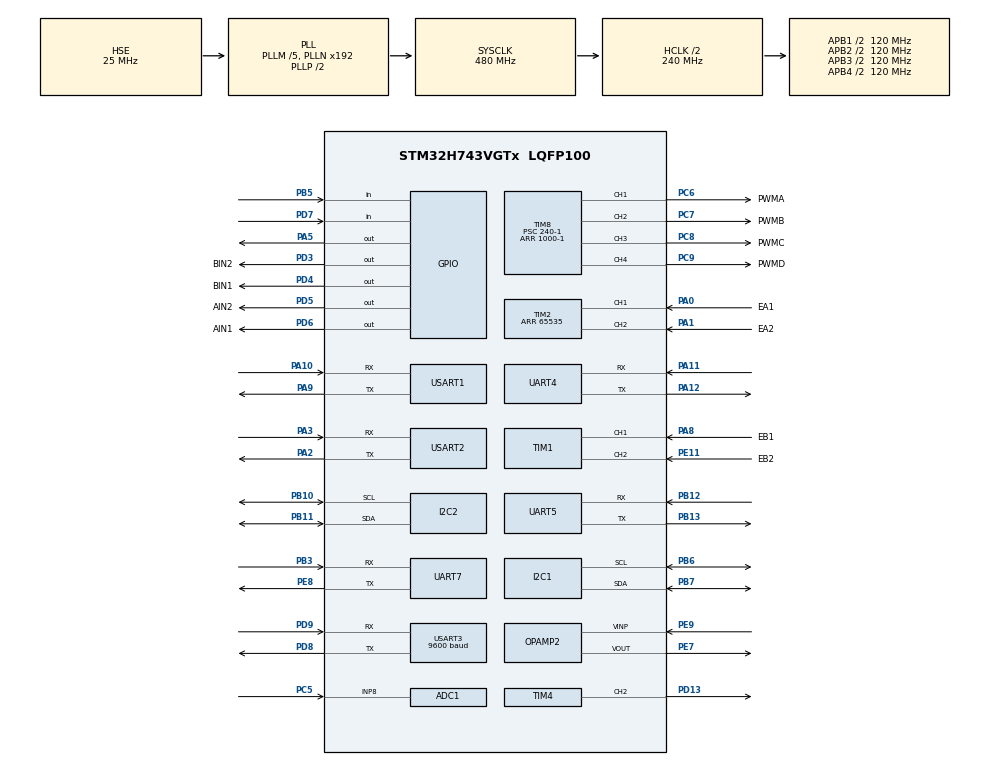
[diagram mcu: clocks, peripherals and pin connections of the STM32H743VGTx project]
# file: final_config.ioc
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ADC1.Channel-0\#ChannelRegularConversion=ADC_CHANNEL_8
ADC1.NbrOfConversionFlag=1
ADC1.OffsetNumber-0\#ChannelRegularConversion=ADC_OFFSET_NONE
ADC1.OffsetSignedSaturation-0\#ChannelRegularConversion=DISABLE
ADC1.Rank-0\#ChannelRegularConversion=1
ADC1.SamplingTime-0\#ChannelRegularConversion=ADC_SAMPLETIME_1CYCLE_5
ADC1.master=1
CORTEX_M7.default_mode_Activation=0
Dma.Request0=USART1_RX
Dma.Request1=USART2_RX
Dma.Request2=USART3_RX
Dma.Request3=UART4_RX
Dma.Request4=UART7_RX
Dma.UART4_RX.3.Direction=DMA_PERIPH_TO_MEMORY
Dma.UART4_RX.3.EventEnable=DISABLE
Dma.UART4_RX.3.FIFOMode=DMA_FIFOMODE_DISABLE
Dma.UART4_RX.3.Instance=DMA1_Stream3
Dma.UART4_RX.3.MemDataAlignment=DMA_MDATAALIGN_BYTE
Dma.UART4_RX.3.MemInc=DMA_MINC_ENABLE
Dma.UART4_RX.3.Mode=DMA_NORMAL
Dma.UART4_RX.3.PeriphDataAlignment=DMA_PDATAALIGN_BYTE
Dma.UART4_RX.3.PeriphInc=DMA_PINC_DISABLE
Dma.UART4_RX.3.Polarity=HAL_DMAMUX_REQ_GEN_RISING
Dma.UART4_RX.3.Priority=DMA_PRIORITY_LOW
Dma.UART4_RX.3.RequestNumber=1
Dma.UART4_RX.3.SignalID=NONE
Dma.UART4_RX.3.SyncEnable=DISABLE
Dma.UART4_RX.3.SyncPolarity=HAL_DMAMUX_SYNC_NO_EVENT
Dma.UART4_RX.3.SyncRequestNumber=1
Dma.UART4_RX.3.SyncSignalID=NONE
Dma.UART7_RX.4.Direction=DMA_PERIPH_TO_MEMORY
Dma.UART7_RX.4.EventEnable=DISABLE
Dma.UART7_RX.4.FIFOMode=DMA_FIFOMODE_DISABLE
Dma.UART7_RX.4.Instance=DMA2_Stream0
Dma.UART7_RX.4.MemDataAlignment=DMA_MDATAALIGN_BYTE
Dma.UART7_RX.4.MemInc=DMA_MINC_ENABLE
Dma.UART7_RX.4.Mode=DMA_NORMAL
Dma.UART7_RX.4.PeriphDataAlignment=DMA_PDATAALIGN_BYTE
Dma.UART7_RX.4.PeriphInc=DMA_PINC_DISABLE
Dma.UART7_RX.4.Polarity=HAL_DMAMUX_REQ_GEN_RISING
Dma.UART7_RX.4.Priority=DMA_PRIORITY_VERY_HIGH
Dma.UART7_RX.4.RequestNumber=1
Dma.UART7_RX.4.SignalID=NONE
Dma.UART7_RX.4.SyncEnable=DISABLE
Dma.UART7_RX.4.SyncPolarity=HAL_DMAMUX_SYNC_NO_EVENT
Dma.UART7_RX.4.SyncRequestNumber=1
Dma.UART7_RX.4.SyncSignalID=NONE
Dma.USART1_RX.0.Direction=DMA_PERIPH_TO_MEMORY
Dma.USART1_RX.0.EventEnable=DISABLE
Dma.USART1_RX.0.FIFOMode=DMA_FIFOMODE_DISABLE
Dma.USART1_RX.0.Instance=DMA1_Stream0
Dma.USART1_RX.0.MemDataAlignment=DMA_MDATAALIGN_BYTE
Dma.USART1_RX.0.MemInc=DMA_MINC_ENABLE
Dma.USART1_RX.0.Mode=DMA_NORMAL
Dma.USART1_RX.0.PeriphDataAlignment=DMA_PDATAALIGN_BYTE
Dma.USART1_RX.0.PeriphInc=DMA_PINC_DISABLE
Dma.USART1_RX.0.Polarity=HAL_DMAMUX_REQ_GEN_RISING
Dma.USART1_RX.0.Priority=DMA_PRIORITY_LOW
Dma.USART1_RX.0.RequestNumber=1
Dma.USART1_RX.0.SignalID=NONE
Dma.USART1_RX.0.SyncEnable=DISABLE
Dma.USART1_RX.0.SyncPolarity=HAL_DMAMUX_SYNC_NO_EVENT
Dma.USART1_RX.0.SyncRequestNumber=1
Dma.USART1_RX.0.SyncSignalID=NONE
Dma.USART2_RX.1.Direction=DMA_PERIPH_TO_MEMORY
Dma.USART2_RX.1.EventEnable=DISABLE
Dma.USART2_RX.1.FIFOMode=DMA_FIFOMODE_DISABLE
Dma.USART2_RX.1.Instance=DMA1_Stream1
Dma.USART2_RX.1.MemDataAlignment=DMA_MDATAALIGN_BYTE
Dma.USART2_RX.1.MemInc=DMA_MINC_ENABLE
Dma.USART2_RX.1.Mode=DMA_NORMAL
Dma.USART2_RX.1.PeriphDataAlignment=DMA_PDATAALIGN_BYTE
Dma.USART2_RX.1.PeriphInc=DMA_PINC_DISABLE
Dma.USART2_RX.1.Polarity=HAL_DMAMUX_REQ_GEN_RISING
Dma.USART2_RX.1.Priority=DMA_PRIORITY_LOW
Dma.USART2_RX.1.RequestNumber=1
Dma.USART2_RX.1.SignalID=NONE
Dma.USART2_RX.1.SyncEnable=DISABLE
Dma.USART2_RX.1.SyncPolarity=HAL_DMAMUX_SYNC_NO_EVENT
Dma.USART2_RX.1.SyncRequestNumber=1
Dma.USART2_RX.1.SyncSignalID=NONE
Dma.USART3_RX.2.Direction=DMA_PERIPH_TO_MEMORY
Dma.USART3_RX.2.EventEnable=DISABLE
Dma.USART3_RX.2.FIFOMode=DMA_FIFOMODE_DISABLE
Dma.USART3_RX.2.Instance=DMA1_Stream2
Dma.USART3_RX.2.MemDataAlignment=DMA_MDATAALIGN_BYTE
Dma.USART3_RX.2.MemInc=DMA_MINC_ENABLE
Dma.USART3_RX.2.Mode=DMA_NORMAL
Dma.USART3_RX.2.PeriphDataAlignment=DMA_PDATAALIGN_BYTE
Dma.USART3_RX.2.PeriphInc=DMA_PINC_DISABLE
Dma.USART3_RX.2.Polarity=HAL_DMAMUX_REQ_GEN_RISING
Dma.USART3_RX.2.Priority=DMA_PRIORITY_LOW
Dma.USART3_RX.2.RequestNumber=1
Dma.USART3_RX.2.SignalID=NONE
Dma.USART3_RX.2.SyncEnable=DISABLE
Dma.USART3_RX.2.SyncPolarity=HAL_DMAMUX_SYNC_NO_EVENT
Dma.USART3_RX.2.SyncRequestNumber=1
Dma.USART3_RX.2.SyncSignalID=NONE
I2C1.Timing=0x307075B1
I2C2.Timing=0x307075B1
Mcu.Family=STM32H7
Mcu.Name=STM32H743VGTx
Mcu.Package=LQFP100
NVIC.DMA1_Stream0_IRQn=true\:0\:0\:false\:false\:true\:false\:true\:true
NVIC.DMA1_Stream1_IRQn=true\:0\:0\:false\:false\:true\:false\:true\:true
NVIC.DMA1_Stream2_IRQn=true\:0\:0\:false\:false\:true\:false\:true\:true
NVIC.DMA1_Stream3_IRQn=true\:0\:0\:false\:false\:true\:false\:true\:true
NVIC.DMA2_Stream0_IRQn=true\:0\:0\:false\:false\:true\:false\:true\:true
NVIC.PriorityGroup=NVIC_PRIORITYGROUP_4
NVIC.TIM6_DAC_IRQn=true\:3\:0\:true\:false\:true\:true\:true\:true
NVIC.TIM7_IRQn=true\:14\:0\:true\:false\:true\:true\:true\:true
NVIC.TIM8_UP_TIM13_IRQn=true\:0\:0\:false\:false\:true\:true\:true\:true
NVIC.UART4_IRQn=true\:0\:0\:false\:false\:true\:true\:true\:true
NVIC.UART7_IRQn=true\:0\:0\:false\:false\:true\:true\:true\:true
NVIC.USART1_IRQn=true\:0\:0\:false\:false\:true\:true\:true\:true
NVIC.USART2_IRQn=true\:0\:0\:false\:false\:true\:true\:true\:true
NVIC.USART3_IRQn=true\:14\:0\:true\:false\:true\:true\:true\:true
PA0.GPIO_Label=EA1
PA0.PinAttribute=Free
PA0.Signal=S_TIM2_CH1_ETR
PA1.GPIO_Label=EA2
PA1.PinAttribute=Free
PA1.Signal=S_TIM2_CH2
PA10.Mode=Asynchronous
PA10.Signal=USART1_RX
PA11.Mode=Asynchronous
PA11.PinAttribute=Free
PA11.Signal=UART4_RX
PA12.Mode=Asynchronous
PA12.Signal=UART4_TX
PA13\ (JTMS/SWDIO).Mode=Serial_Wire
PA13\ (JTMS/SWDIO).Signal=DEBUG_JTMS-SWDIO
PA14\ (JTCK/SWCLK).Mode=Serial_Wire
PA14\ (JTCK/SWCLK).Signal=DEBUG_JTCK-SWCLK
PA2.Mode=Asynchronous
PA2.PinAttribute=Free
PA2.Signal=USART2_TX
PA3.Mode=Asynchronous
PA3.PinAttribute=Free
PA3.Signal=USART2_RX
PA5.GPIO_PuPd=GPIO_PULLUP
PA5.GPIO_Speed=GPIO_SPEED_FREQ_VERY_HIGH
PA5.Signal=GPIO_Output
PA8.GPIO_Label=EB1
PA8.PinAttribute=Free
PA8.Signal=S_TIM1_CH1
PA9.Mode=Asynchronous
PA9.Signal=USART1_TX
PB10.Mode=I2C
PB10.Signal=I2C2_SCL
PB11.Mode=I2C
PB11.Signal=I2C2_SDA
PB12.Mode=Asynchronous
PB12.Signal=UART5_RX
PB13.Mode=Asynchronous
PB13.Signal=UART5_TX
PB3\ (JTDO/TRACESWO).Mode=Asynchronous
PB3\ (JTDO/TRACESWO).Signal=UART7_RX
PB5.GPIO_PuPd=GPIO_PULLDOWN
PB5.Signal=GPIO_Input
PB6.Mode=I2C
PB6.Signal=I2C1_SCL
PB7.Mode=I2C
PB7.Signal=I2C1_SDA
PC5.Signal=ADCx_INP8
PC6.GPIO_Label=PWMA
PC6.PinAttribute=Free
PC6.Signal=S_TIM8_CH1
PC7.GPIO_Label=PWMB
PC7.PinAttribute=Free
PC7.Signal=S_TIM8_CH2
PC8.GPIO_Label=PWMC
PC8.PinAttribute=Free
PC8.Signal=S_TIM8_CH3
PC9.GPIO_Label=PWMD
PC9.PinAttribute=Free
PC9.Signal=S_TIM8_CH4
PD13.Signal=S_TIM4_CH2
PD3.GPIO_Label=BIN2
PD3.Signal=GPIO_Output
PD4.GPIO_Label=BIN1
PD4.Signal=GPIO_Output
PD5.GPIO_Label=AIN2
PD5.Signal=GPIO_Output
PD6.GPIO_Label=AIN1
PD6.Signal=GPIO_Output
PD7.GPIO_PuPd=GPIO_PULLDOWN
PD7.Signal=GPIO_Input
PD8.Mode=Asynchronous
PD8.Signal=USART3_TX
PD9.Mode=Asynchronous
PD9.Signal=USART3_RX
PE11.GPIO_Label=EB2
PE11.Signal=S_TIM1_CH2
PE7.Mode=Follower
PE7.Signal=OPAMP2_VOUT
PE8.Mode=Asynchronous
PE8.Signal=UART7_TX
PE9.Mode=Follower
PE9.Signal=OPAMP2_VINP
PH0-OSC_IN\ (PH0).Mode=HSE-External-Oscillator
PH0-OSC_IN\ (PH0).PinAttribute=Free
PH0-OSC_IN\ (PH0).Signal=RCC_OSC_IN
PH1-OSC_OUT\ (PH1).Mode=HSE-External-Oscillator
PH1-OSC_OUT\ (PH1).PinAttribute=Free
PH1-OSC_OUT\ (PH1).Signal=RCC_OSC_OUT
ProjectManager.HeapSize=0x200
ProjectManager.StackSize=0x400
ProjectManager.TargetToolchain=CMake
RCC.ADCFreq_Value=75000000
RCC.APB1Freq_Value=120000000
RCC.APB2Freq_Value=120000000
RCC.APB3Freq_Value=120000000
RCC.APB4Freq_Value=120000000
RCC.CortexFreq_Value=480000000
RCC.D1PPRE=RCC_APB3_DIV2
RCC.D2PPRE1=RCC_APB1_DIV2
RCC.D2PPRE2=RCC_APB2_DIV2
RCC.D3PPRE=RCC_APB4_DIV2
RCC.DIVM1=5
RCC.DIVM2=2
RCC.DIVN1=192
RCC.DIVN2=12
RCC.DIVQ1=5
RCC.EnbaleCSS=true
RCC.FLatency-AdvancedSettings=FLASH_LATENCY_0
RCC.HCLKFreq_Value=240000000
RCC.HPRE=RCC_HCLK_DIV2
RCC.PLL1_VCO_SEL-AdvancedSettings=RCC_PLL1VCOWIDE
RCC.PLL2FRACN=0
RCC.PLL2_VCI_Range-AdvancedSettings=RCC_PLL2VCIRANGE_1
RCC.PLL2_VCO_SEL-AdvancedSettings=RCC_PLL2VCOMEDIUM
RCC.PLL3FRACN=0
RCC.PLL3_VCI_Range-AdvancedSettings=RCC_PLL3VCIRANGE_3
RCC.PLL3_VCO_SEL-AdvancedSettings=RCC_PLL3VCOMEDIUM
RCC.PLLFRACN=0
RCC.PLLSourceVirtual=RCC_PLLSOURCE_HSE
RCC.SYSCLKFreq_VALUE=480000000
RCC.SYSCLKSource=RCC_SYSCLKSOURCE_PLLCLK
RCC.USBFreq_Value=192000000
SH.ADCx_INP8.0=ADC1_INP8,IN8-Single-Ended
SH.S_TIM1_CH1.0=TIM1_CH1,Encoder_Interface
SH.S_TIM1_CH2.0=TIM1_CH2,Encoder_Interface
SH.S_TIM2_CH1_ETR.0=TIM2_CH1,Encoder_Interface
SH.S_TIM2_CH2.0=TIM2_CH2,Encoder_Interface
SH.S_TIM4_CH2.0=TIM4_CH2,PWM Generation2 CH2
SH.S_TIM8_CH1.0=TIM8_CH1,PWM Generation1 CH1
SH.S_TIM8_CH2.0=TIM8_CH2,PWM Generation2 CH2
SH.S_TIM8_CH3.0=TIM8_CH3,PWM Generation3 CH3
SH.S_TIM8_CH4.0=TIM8_CH4,PWM Generation4 CH4
TIM1.EncoderMode=TIM_ENCODERMODE_TI12
TIM13.Period=1000-1
TIM13.Prescaler=240-1
TIM2.EncoderMode=TIM_ENCODERMODE_TI12
TIM2.Period=65535
TIM4.Channel-PWM\ Generation2\ CH2=TIM_CHANNEL_2
TIM4.Period=100
TIM4.Prescaler=240-1
TIM4.Pulse-PWM\ Generation2\ CH2=50
TIM6.Period=10000-1
TIM6.Prescaler=240-1
TIM7.Period=10000-1
TIM7.Prescaler=24000-1
TIM8.Channel-PWM\ Generation1\ CH1=TIM_CHANNEL_1
TIM8.Channel-PWM\ Generation2\ CH2=TIM_CHANNEL_2
TIM8.Channel-PWM\ Generation3\ CH3=TIM_CHANNEL_3
TIM8.Channel-PWM\ Generation4\ CH4=TIM_CHANNEL_4
TIM8.Period=1000-1
TIM8.Prescaler=240-1
UART7.DMADisableonRxErrorParam=UART_ADVFEATURE_DMA_DISABLEONRXERROR
UART7.OverrunDisableParam=UART_ADVFEATURE_OVERRUN_DISABLE
USART1.VirtualMode-Asynchronous=VM_ASYNC
USART2.VirtualMode-Asynchronous=VM_ASYNC
USART3.BaudRate=9600
USART3.SwapParam=ADVFEATURE_SWAP_ENABLE
USART3.VirtualMode-Asynchronous=VM_ASYNC
VP_MEMORYMAP_VS_MEMORYMAP.Mode=CurAppReg
VP_TIM13_VS_ClockSourceINT.Mode=Enable_Timer
VP_TIM6_VS_ClockSourceINT.Mode=Enable_Timer
VP_TIM7_VS_ClockSourceINT.Mode=Enable_Timer
board=custom

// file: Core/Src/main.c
/* USER CODE BEGIN Header */
/**
  ******************************************************************************
  * @file           : main.c
  * @brief          : Main program body
  ******************************************************************************
  * @attention
  *
  * Copyright (c) 2025 STMicroelectronics.
  * All rights reserved.
  *
  * This software is licensed under terms that can be found in the LICENSE file
  * in the root directory of this software component.
  * If no LICENSE file comes with this software, it is provided AS-IS.
  *
  ******************************************************************************
  */
/* USER CODE END Header */
#include "main.h"
#include "adc.h"
#include "dma.h"
#include "i2c.h"
#include "memorymap.h"
#include "opamp.h"
#include "tim.h"
#include "usart.h"
#include "gpio.h"

/* USER CODE BEGIN Includes */
#include <stdbool.h>
#include <stdio.h>
#include <string.h>

#include "filter.h"
#include "control.h"
#include "driver.h"
#include "motion/motion_types.h"
#include "PTZ.h"
#include "pic/nl.h"
#include "pic/kk.h"
#include "pic/wsnlwcsnl.h"
#include "pic/hbkk.h"
#include "pic/NUEDC.h"
#include "pic/UESTC.h"
/* USER CODE END Includes */

/* USER CODE BEGIN PTD */
typedef struct {
  float x;
  float y;
  float z;
} Speed;
/* USER CODE END PTD */

/* USER CODE BEGIN PD */
#define  Car_Constance 15.1
/* USER CODE END PD */

/* USER CODE BEGIN PV */

extern PID_LocTypeDef Motor_A_PID;
extern PID_LocTypeDef Motor_B_PID;
extern PID_LocTypeDef Z_PID;
extern PID_LocTypeDef PTZ_Z_PID;

char speed_rx_buffer[512]__attribute__((section(".out")));
char imu_rx_buffer[512]__attribute__((section(".out")));
char screen_rx_buffer[512]__attribute__((section(".out")));
char k230_rx_buffer[2048]__attribute__((section(".o2")));

char speed_data_buffer[512];
char imu_data_buffer[512];
char screen_data_buffer[512];
char k230_data_buffer[2048];

const float ENCODER_RESOLUTION_AB = 500.0f * 4.0f * 30.f;

const float METERS_PER_PULSE_AB = (wheel * 3.1415926535f) / ENCODER_RESOLUTION_AB;//单位cm

Speed_Data Speed_Data_A,Speed_Data_B;

// 新加的正交编码器
Speed_Data Speed_X, Speed_Y;
float last_angle_z = 0.0f; // 上一次的角度
float rotation_speed_x, rotation_speed_y;
float r_y = 10.63f, r_x = 18.3f; // 编码轮到质心的距离 cm
float w ;

Speed Speed_car, Position_car, Imu_Speed;

KalmanFilter speed_x, speed_y, angle_z;
KalmanFilter k_gyro_z;
float other_speed_data_x, other_speed_data_y;

float Motor_A_Set,Motor_B_Set;

float z_target = 0.;

float position_target_x = 0, position_target_y = 0;

// jy62
sensor_data_fifo_s accel_data, gyro_data, angle_data;
float accx,accy;

// PTZ
float PTZ_angle_z = 0.0f;
float PTZ_angle_x = 0.0f;

float projection_x = 0.27f, projection_y = 0.33f;

double motor_speed_x, motor_speed_y, motor_speed_z;
bool data_flag = false;

// draw
bool draw = false;
int draw_size = 0;
float (*draw_points)[2] = {0};

int PTZ_alive = 0;

int FuckTi_status = 0;
int Fuck_round = 0;

int detected = 0;
bool turn2 = false;

float fuck_center_dif = 0;
float fuck_radius = 0;

extern uint8_t m0_dead = 1;
/* 0是不动，云台软
 * 1是动，云台软
 * 2是不动，云台硬
 * 3是动，云台硬
 * 4是画圆
 */
int status = 0;

int lazer_close = 0;
/* USER CODE END PV */

void SystemClock_Config(void);
/* USER CODE BEGIN PFP */
void Move_Transform(double Vx,double Vy,double Vz);
void update_speed(Speed_Data* speed, int tim, float mpp);
void Speed_PID();
void Position_Transform(double Va,double Vb);
void Speed_Int(double dt);
int string2int(int start, int end);
void SpeedHandler();
void PositionHandler();
bool verify_imu_data(int start);
void parse_imu_data(sensor_data_fifo_s* data, int start);
void ImuHandler(uint16_t size);
void CheckPosition();

void MY1_Delay(int ms);
void ScreenHandler();
void WriteSCREEN(char* msg);
float GetDistance(float* point_a, float* point_b);
void Projection_Draw(float x, float y);
/* USER CODE END PFP */

int main(void)
{

  /* MCU Configuration--------------------------------------------------------*/

  /* Reset of all peripherals, Initializes the Flash interface and the Systick. */
  HAL_Init();

  /* Configure the system clock */
  SystemClock_Config();

  /* Initialize all configured peripherals */
  MX_GPIO_Init();
  MX_DMA_Init();
  MX_ADC1_Init();
  MX_I2C1_Init();
  MX_I2C2_Init();
  MX_OPAMP2_Init();
  MX_TIM1_Init();
  MX_TIM2_Init();
  MX_TIM8_Init();
  MX_UART4_Init();
  MX_UART5_Init();
  MX_UART7_Init();
  MX_USART1_UART_Init();
  MX_USART2_UART_Init();
  MX_USART3_UART_Init();
  MX_TIM6_Init();
  MX_TIM4_Init();
  MX_TIM7_Init();
  MX_TIM13_Init();
  /* USER CODE BEGIN 2 */

  HAL_TIM_Encoder_Start(&htim1, TIM_CHANNEL_ALL);
  HAL_TIM_Encoder_Start(&htim2, TIM_CHANNEL_ALL);

  HAL_TIM_PWM_Start(&htim8, TIM_CHANNEL_1);
  HAL_TIM_PWM_Start(&htim8, TIM_CHANNEL_2);
  HAL_TIM_PWM_Start(&htim8, TIM_CHANNEL_3);
  HAL_TIM_PWM_Start(&htim8, TIM_CHANNEL_4);

  HAL_TIM_Base_Start_IT(&htim6);
  HAL_TIM_Base_Start_IT(&htim7);
  HAL_TIM_Base_Start_IT(&htim13);

  //imu init
  angle_data.dt = 0.01f;
  angle_data.scale = 1.0f;
  angle_data.samples = 0;
  gyro_data.dt = 0.01f;
  gyro_data.scale = 1.0f;
  gyro_data.samples = 0;
  accel_data.dt = 0.01f;
  accel_data.scale = 1.0f;
  accel_data.samples = 0;

  angle_data.scale = 1.0 / 32768.0f * 180.0f;//degree
  gyro_data.scale = 1.0 / 32768.0f * 2000.0f;//dps
  accel_data.scale = 1.0 / 32768.0f * 16.0f * 9.8f * 100.0f;//cm/s^2

  memset(imu_rx_buffer, 0, sizeof(imu_rx_buffer));

  char z_cali[3] = {0xff,0xaa,0x52};
  // z归零
  HAL_UART_Transmit(&huart4, (uint8_t *)z_cali, sizeof(z_cali), HAL_MAX_DELAY);
  z_cali[2] = 0x67;
  // acc校准
  HAL_UART_Transmit(&huart4, (uint8_t *)z_cali, sizeof(z_cali), HAL_MAX_DELAY);

  Position_car.x = 0;
  Position_car.y = 0;
  Position_car.z = 0;

  Imu_Speed.x = 0;
  Imu_Speed.y = 0;

  kalman_filter_init(&speed_x, 0.01, 0.2);
  kalman_filter_init(&speed_y, 0.01, 0.2);

  kalman_filter_init(&angle_z, 0.01, 0.5);
  kalman_filter_init(&k_gyro_z, 0.01, 0.5);

  HAL_UARTEx_ReceiveToIdle_DMA(&huart1,speed_rx_buffer,512); //1接调试器
  // HAL_UARTEx_ReceiveToIdle_DMA(&huart2,flow_rx_buffer,512); //2接云台
  HAL_UARTEx_ReceiveToIdle_DMA(&huart3,screen_rx_buffer,512);//3接屏幕
  HAL_UARTEx_ReceiveToIdle_DMA(&huart4,imu_rx_buffer,512); //4接imu
  HAL_UARTEx_ReceiveToIdle_DMA(&huart7,k230_rx_buffer,512); //7接k230

  // PTZ back zero
  PTZ_back_zero();

  HAL_Delay(1000);

  // PTZ_set_zero();
  // HAL_GPIO_WritePin(GPIOD, GPIO_PIN_13, GPIO_PIN_SET); // 开启激光笔
  HAL_GPIO_WritePin(GPIOA , GPIO_PIN_5, GPIO_PIN_RESET); // 开启激光笔
  lazer_close = 999999;
  // HAL_Delay(100);
  // lazer_close = 1000;
  // HAL_Delay(2000);
  // lazer_close = 1000;

  /* USER CODE END 2 */

  /* Infinite loop */
  /* USER CODE BEGIN WHILE */
  int cur_i = 0;
  while (1)
  {
    // for(int i = 0; i <= draw_size; i++) {
    //   PTZ_angle_z = draw_points[i][0] / 180.0f * PI * 7.; // 转换为角度
    //   PTZ_angle_x = draw_points[i][1] / 180.0f * PI * 7.; // 转换为角度
    //   PTZ_update(PTZ_angle_x, PTZ_angle_z);
    //   HAL_Delay(5);
    // }
    if (draw) {
      lazer_close = 1;
      // PTZ_angle_z = draw_points[cur_i][0] / 180.0f * PI * 7.; // 转换为角度
      // PTZ_angle_x = draw_points[cur_i][1] / 180.0f * PI * 7.; // 转换为角度
      // PTZ_update(PTZ_angle_x, PTZ_angle_z);
      const float ratio = 20.0f;
      float angle_x = draw_points[cur_i][0] / ratio;
      float angle_z = draw_points[cur_i][1] / ratio;
      Projection_Draw(angle_x, angle_z);

      if (GetDistance(draw_points[(cur_i)%draw_size], draw_points[(cur_i-1)%draw_size]) > 0.15f) {
        // HAL_GPIO_WritePin(GPIOA, GPIO_PIN_5, GPIO_PIN_RESET);
        lazer_close = 200;
        HAL_Delay(200);
      } else {
        HAL_GPIO_WritePin(GPIOA, GPIO_PIN_5, GPIO_PIN_SET);
      }

      cur_i++;
      cur_i %= draw_size-1;
    }
    // if (Position_car.z > PI) Position_car.z -= 2*PI;
    // if (Position_car.z < PI/2. && Position_car.z > -PI/2.)
    //   PTZ_update(0, Position_car.z);
    char msg[30];

    // sprintf(msg, "%d %d %d %d %d\r\n", (int)(Position_car.x*100), (int)(Position_car.y*100), (int)(Position_car.z*100), (int)(z_target*100), status);

    sprintf(msg, "%d \r\n", m0_dead);

    HAL_UART_Transmit(&huart1, msg, strlen(msg), HAL_MAX_DELAY);
    HAL_Delay(2);

    while(detected < 13 && FuckTi_status == 5) {
      // char msg[20];
      // sprintf(msg,"%d \r\n",detected);
      // HAL_UART_Transmit(&huart1, msg, strlen(msg), HAL_MAX_DELAY);
      // PTZ_update(0, 1);
      PTZ_move_angle(0x02, 0.035);
      HAL_Delay(15);
    }
    if (FuckTi_status == 5)
      FuckTi_status = 2;

    /* USER CODE END WHILE */

  }
}

void SystemClock_Config(void)
{
  RCC_OscInitTypeDef RCC_OscInitStruct = {0};
  RCC_ClkInitTypeDef RCC_ClkInitStruct = {0};

  /** Supply configuration update enable
  */
  HAL_PWREx_ConfigSupply(PWR_LDO_SUPPLY);

  /** Configure the main internal regulator output voltage
  */
  __HAL_PWR_VOLTAGESCALING_CONFIG(PWR_REGULATOR_VOLTAGE_SCALE1);

  while(!__HAL_PWR_GET_FLAG(PWR_FLAG_VOSRDY)) {}

  __HAL_RCC_SYSCFG_CLK_ENABLE();
  __HAL_PWR_VOLTAGESCALING_CONFIG(PWR_REGULATOR_VOLTAGE_SCALE0);

  while(!__HAL_PWR_GET_FLAG(PWR_FLAG_VOSRDY)) {}

  /** Initializes the RCC Oscillators according to the specified parameters
  * in the RCC_OscInitTypeDef structure.
  */
  RCC_OscInitStruct.OscillatorType = RCC_OSCILLATORTYPE_HSE;
  RCC_OscInitStruct.HSEState = RCC_HSE_ON;
  RCC_OscInitStruct.PLL.PLLState = RCC_PLL_ON;
  RCC_OscInitStruct.PLL.PLLSource = RCC_PLLSOURCE_HSE;
  RCC_OscInitStruct.PLL.PLLM = 5;
  RCC_OscInitStruct.PLL.PLLN = 192;
  RCC_OscInitStruct.PLL.PLLP = 2;
  RCC_OscInitStruct.PLL.PLLQ = 5;
  RCC_OscInitStruct.PLL.PLLR = 2;
  RCC_OscInitStruct.PLL.PLLRGE = RCC_PLL1VCIRANGE_2;
  RCC_OscInitStruct.PLL.PLLVCOSEL = RCC_PLL1VCOWIDE;
  RCC_OscInitStruct.PLL.PLLFRACN = 0;
  if (HAL_RCC_OscConfig(&RCC_OscInitStruct) != HAL_OK)
  {
    Error_Handler();
  }

  /** Initializes the CPU, AHB and APB buses clocks
  */
  RCC_ClkInitStruct.ClockType = RCC_CLOCKTYPE_HCLK|RCC_CLOCKTYPE_SYSCLK
                              |RCC_CLOCKTYPE_PCLK1|RCC_CLOCKTYPE_PCLK2
                              |RCC_CLOCKTYPE_D3PCLK1|RCC_CLOCKTYPE_D1PCLK1;
  RCC_ClkInitStruct.SYSCLKSource = RCC_SYSCLKSOURCE_PLLCLK;
  RCC_ClkInitStruct.SYSCLKDivider = RCC_SYSCLK_DIV1;
  RCC_ClkInitStruct.AHBCLKDivider = RCC_HCLK_DIV2;
  RCC_ClkInitStruct.APB3CLKDivider = RCC_APB3_DIV2;
  RCC_ClkInitStruct.APB1CLKDivider = RCC_APB1_DIV2;
  RCC_ClkInitStruct.APB2CLKDivider = RCC_APB2_DIV2;
  RCC_ClkInitStruct.APB4CLKDivider = RCC_APB4_DIV2;

  if (HAL_RCC_ClockConfig(&RCC_ClkInitStruct, FLASH_LATENCY_4) != HAL_OK)
  {
    Error_Handler();
  }

  /** Enables the Clock Security System
  */
  HAL_RCC_EnableCSS();
}

/* USER CODE BEGIN 4 */
// 整车移动量转换为单轮速度  x:�?????????????+�?????????????-  y:�?????????????+�?????????????-  z:�?????????????+�?????????????-
void Move_Transform(double Vx,double Vy,double Vz)
{
  Motor_A_Set=Vy-Vz*Car_Constance;
  Motor_B_Set=Vy+Vz*Car_Constance;
}

// 从指定编码器更新速度到 Speed_Data 结构体
void update_speed(Speed_Data* speed, int tim, float mpp) {

  if (tim == 1) {
    speed->current_count = TIM1->CNT;
  }else if (tim == 2) {
    speed->current_count = TIM2->CNT;
  }

  // speed->current_count = tim.CNT;

  speed->delta_pulses = (speed->current_count - speed->encoder_count_prev);
  speed->encoder_count_prev = speed->current_count;
  //防止计数器超�??????????????????65535
  if(speed->delta_pulses>60000)speed->delta_pulses-=65535;
  if(speed->delta_pulses<-60000)speed->delta_pulses+=65535;
  //计算距离
  speed->delta_distance =  speed->delta_pulses* mpp;
  float dt =0.01;//
  //计算车鿿
  speed->speed = speed->delta_distance / dt;
  speed->distance += speed->delta_distance ;
}

//对轮速进行闭环
void Speed_PID() {

  PID_output_2(Motor_A_Set, Speed_Data_A.speed, &Motor_A_PID, 5000);
  PID_output_2(Motor_B_Set, Speed_Data_B.speed, &Motor_B_PID, 5000);

  // SetMotor(MOTOR_A, (int)Motor_A_PID.output);
  // SetMotor(MOTOR_B, (int)Motor_B_PID.output);

  SetMotor(MOTOR_A, Motor_A_Set);
  SetMotor(MOTOR_B, Motor_B_Set);
}

// 轮速转换为整车速度
void Position_Transform(double Va,double Vb)
{
  float tmp_vy = (Va + Vb) / 2.0;
  float tmp_vx = 0;
  Speed_car.x = kalman_filter_update(&speed_x, tmp_vx);
  Speed_car.y = kalman_filter_update(&speed_y, tmp_vy);
  Speed_car.z = 1.0f/2.0f*(Va-Vb)/Car_Constance;
}

// 速度积分
void Speed_Int(double dt) {
  Position_Transform(Speed_Data_A.speed, Speed_Data_B.speed);

  // 还是融合一下吧
  float ratio = 1.0;
  float tmp_x = Speed_car.x * ratio + (other_speed_data_x) * (1-ratio);
  float tmp_y = Speed_car.y * ratio + (other_speed_data_y) * (1-ratio);
  Speed_car.x = tmp_x;
  Speed_car.y = tmp_y;

  // float tmp_angle_z = kalman_filter_update(&angle_z, angle_data.z[0] * angle_data.scale * 3.1415926535f / 180.0f);
  float tmp_angle_z = angle_data.z[0] * angle_data.scale * 3.1415926535f / 180.0f;
  if (tmp_angle_z > 2*PI) tmp_angle_z -= 2.0f * PI;
  Position_car.z = tmp_angle_z; // 角度转弧度

  // 限制范围
  if (tmp_angle_z - last_angle_z > PI) {
    last_angle_z += 2*PI;
  } else if (tmp_angle_z - last_angle_z < -PI) {
    last_angle_z -= 2*PI;
  }

  if (isnan(Position_car.x)) Position_car.x = 0;
  if (isnan(Position_car.y)) Position_car.y = 0;
  if (isnan(Speed_car.x)) Speed_car.x = 0;
  if (isnan(Speed_car.y)) Speed_car.y = 0;

  // 积分
  if(Position_car.z == 0)Position_car.z = 0.0001;
  Position_car.x += (Speed_car.x*cosf(Position_car.z)+Speed_car.y*sinf(Position_car.z))*dt;
  Position_car.y += (-Speed_car.x*sinf(Position_car.z)+Speed_car.y*cosf(Position_car.z))*dt;
}

// 整数转换函数
int string2int(int start, int end) {
  int result = 0;
  if (speed_data_buffer[start] == '-') {
    start++;
    while (start < end && speed_data_buffer[start] == '0') start++;
    return -string2int(start, end);
  }
  for (int i = start; i <= end; i++) {
    if (speed_data_buffer[i] >= '0' && speed_data_buffer[i] <= '9') {
      result = result * 10 + (speed_data_buffer[i] - '0');
    }
  }
  return result;
}

// 接收串口数据包，解析成速度
void SpeedHandler() {
  // HAL_UART_Transmit(&huart1, (uint8_t *)data_buffer, strlen(data_buffer), HAL_MAX_DELAY);
  // int idx0 = 0;
  // while (speed_data_buffer[idx0] != ':') idx0++;
  // int idx1 = idx0 + 1;
  // while (speed_data_buffer[idx1] != ',') idx1++;
  // int idx2 = idx1 + 1;
  // while (speed_data_buffer[idx2] != ',') idx2++;
  // int idx3 = idx2 + 1;
  // while (speed_data_buffer[idx3] != ',') idx3++;
  // int idx4 = idx3 + 1;
  // while (speed_data_buffer[idx4] != ',') idx4++;
  // int idx5 = idx4 + 1;
  // while ((speed_data_buffer[idx5] != '\r')&&(speed_data_buffer[idx5] !='\n')) idx5++;
  //
  // motor_speed_y = -string2int(idx0+1, idx1-1) / 1.50;
  // z_target += string2int(idx2+1, idx3-1) / 3000.0;
  // if (z_target > 2.0f * PI) z_target -= 2.0f * PI;
  // if (z_target < 0) z_target += 2.0f * PI;
  //
  // PTZ_angle_z += string2int(idx3+1, idx4-1) / 5000.0f;
  // if (PTZ_angle_z > PI) PTZ_angle_z = PI;
  // if (PTZ_angle_z < -PI) PTZ_angle_z = -PI;
  // PTZ_angle_x += string2int(idx4+1, idx5-1) / 5000.0f;
  // if (PTZ_angle_x > PI) PTZ_angle_x = PI;
  // if (PTZ_angle_x < -PI) PTZ_angle_x = -PI;
  // PTZ_set_angle(0x02, PTZ_angle_z);
  // PTZ_set_angle(0x01, PTZ_angle_x);
}

// 接收串口数据包，解析成位置
void PositionHandler() {
  int idx0 = 0;
  while (speed_data_buffer[idx0] != ':') idx0++;
  int idx1 = idx0 + 1;
  while (speed_data_buffer[idx1] != ',') idx1++;
  int idx2 = idx1 + 1;
  while ((speed_data_buffer[idx2] != '\r')&&(speed_data_buffer[idx2] !='\n')) idx2++;

  position_target_x = string2int(idx0+1, idx1-1) / 100.0;
  position_target_y = string2int(idx1+1, idx2-1) / 100.0;
}

bool verify_imu_data(int start) {
  char tmp = 0;
  for (int i=0; i<10; i++) {
    tmp += imu_data_buffer[start+i];
  }
  return tmp == imu_data_buffer[start+10];
}

// 解析IMU数据
int16_t parse_tmp[3] = {0};
void parse_imu_data(sensor_data_fifo_s* data, int start) {

  for (int i=0;i<3;i++) {

    int16_t tmp1 = imu_data_buffer[start+2+i*2];
    int16_t tmp2 = imu_data_buffer[start+3+i*2];
    int16_t tmp3 = tmp2<<8 | tmp1;

    parse_tmp[i] = imu_data_buffer[start+3+i*2] << 8 | imu_data_buffer[start+2+i*2];
  }

  data->x[data->samples] = parse_tmp[0];
  data->y[data->samples] = parse_tmp[1];
  data->z[data->samples] = parse_tmp[2];
  data->samples++;

}

// 串口回调处理器
void ImuHandler(uint16_t size) {

  accel_data.samples = 0;
  gyro_data.samples = 0;
  angle_data.samples = 0;

  int max_size = (size > 10)?size-10:size;
  for (int i=0; i<max_size; i++) {
    if ((uint16_t)imu_data_buffer[i] == 85) {
      if (verify_imu_data(i)) {
        if (imu_data_buffer[i+1] == 0x51) {
          //加�?�度
          parse_imu_data(&accel_data, i);
        }
        else if (imu_data_buffer[i+1] == 0x52) {
          //角�?�度
          parse_imu_data(&gyro_data, i);
        }
        else if (imu_data_buffer[i+1] == 0x53) {
          //角度
          parse_imu_data(&angle_data, i);
        }
      }
    }
  }
}

// 检查位置是否到达目标位置
void CheckPosition() {
  float distance = sqrtf(powf(Position_car.x - position_target_x, 2) + powf(Position_car.y - position_target_y, 2));

  if (distance < 5) {
    motor_speed_y = 0;
  } else {
    motor_speed_y = 200;
    z_target = atan2(position_target_x - Position_car.x, position_target_y - Position_car.y);
  }
}

// 屏幕数据处理
void ScreenHandler() {
  char *token[4];
  int   argc = 0;

  /* 用空格分隔 */
  char *pch = strtok(screen_rx_buffer, " ");
  while (pch && argc < 4) {
    token[argc++] = pch;
    pch = strtok(NULL, " ");
  }

  if (argc == 0)            /* 空行，继续读 */
    return;

  const char *cmd = token[0];       /* 第 0 个就是命令 */
  if (strcmp(cmd, "move") == 0) {
    int direction = atoi(token[1]);
    int speed = atoi(token[2]);
    float s = speed / 180. * PI * 0.2f;
    if (direction == 0) {
      // PTZ_angle_x += s;
      // PTZ_update(PTZ_angle_x, PTZ_angle_z);
      PTZ_move(s, 0);
    }
    else if (direction == 1) {
      // PTZ_angle_z += s;
      // PTZ_update(PTZ_angle_x, PTZ_angle_z);
      PTZ_move(0, s);
    }
    else if (direction == 2) {
      // PTZ_angle_x -= s;
      // PTZ_update(PTZ_angle_x, PTZ_angle_z);
      PTZ_move(-s, 0);
    }
    else if (direction == 3) {
      // PTZ_angle_z -= s;
      // PTZ_update(PTZ_angle_x, PTZ_angle_z);
      PTZ_move(0, -s);
    }else {
      PTZ_angle_x = 0;
      PTZ_angle_z = 0;
      PTZ_update(PTZ_angle_x, PTZ_angle_z);
      // PTZ_back_zero();
    }

    MY1_Delay(5);
    float cur_x = PTZ_getangle(0x02);

    char msg[20];
    sprintf(msg, "x0.val=%d", (int)(cur_x*100));
    WriteSCREEN(msg);

    float cur_y = PTZ_getangle(0x01);

    sprintf(msg, "y0.val=%d", (int)(cur_y*100));
    WriteSCREEN(msg);

  }
  else if (strcmp(cmd, "cali") == 0) {
    lazer_close = 1;
    int point = atoi(token[1]);
    // if (point == 0) {
    //   projection_x = -atanf(PTZ_angle_z);
    //   projection_y = -atanf(PTZ_angle_x);
    // }

    PTZ_set_zero();

    char msg[20];
    sprintf(msg, "x0.val=%d", (int)(projection_x*10000));
    WriteSCREEN(msg);
    sprintf(msg, "y0.val=%d", (int)(projection_y*10000));
    WriteSCREEN(msg);

  }
  else if (strcmp(cmd, "aim") == 0) {

  }
  else if (strcmp(cmd, "check") == 0) {

  }
  else if (strcmp(cmd, "track") == 0) {

  }
  else if (strcmp(cmd, "refresh") == 0) {

  }
  else if (strcmp(cmd, "pic") == 0) {
    int direction = atoi(token[1]);
    int id = atoi(token[2]);
    if (direction == 1) {
      id++;
      id %= 12; // 循环选择
    } else if (direction == 0) {
      id--;
      id += (id<0) ? 12 : 0; // 循环选择
    }
    char msg[20];
    sprintf(msg, "id.txt=\"%d\"", id);
    WriteSCREEN(msg);
  }
  else if (strcmp(cmd, "confirmpic") == 0) {
    int id = atoi(token[1]);
    draw = true;
    if (id == 0) {
      draw_size = kk_size;
      draw_points = kk_points;
    }
    else if (id == 1) {
      draw_size = nl_size;
      draw_points = nl_points;
    }
    else if (id == 2) {
      draw_size = wsnlwcsnl_size;
      draw_points = wsnlwcsnl_points;
    }
    else if (id == 3) {
      draw_size = hbkk_size;
      draw_points = hbkk_points;
    }
    else if (id == 4) {
      draw_size = NUEDC_size;
      draw_points = NUEDC_points;
    }
    else if (id ==5) {
      draw_size = UESTC_size;
      draw_points = UESTC_points;
    }
    else {
      draw = false;
      return; // 无效ID
    }
  }
  else if (strcmp(cmd, "run1") == 0) {
    char z_cali[3] = {0xff,0xaa,0x52};
    // z归零
    HAL_UART_Transmit(&huart4, (uint8_t *)z_cali, sizeof(z_cali), HAL_MAX_DELAY);
    z_cali[2] = 0x67;
    // acc校准
    HAL_UART_Transmit(&huart4, (uint8_t *)z_cali, sizeof(z_cali), HAL_MAX_DELAY);
    Position_car.x = 0;
    Position_car.y = 0;
    Position_car.z = 0;
    MY1_Delay(50);
    int round = atoi(token[1]);
    FuckTi_status = 1;
    Fuck_round = round;
  }
  else if (strcmp(cmd, "run2") == 0) {
    lazer_close = 1000;
    char z_cali[3] = {0xff,0xaa,0x52};
    // z归零
    HAL_UART_Transmit(&huart4, (uint8_t *)z_cali, sizeof(z_cali), HAL_MAX_DELAY);
    z_cali[2] = 0x67;
    // acc校准
    HAL_UART_Transmit(&huart4, (uint8_t *)z_cali, sizeof(z_cali), HAL_MAX_DELAY);
    Position_car.x = 0;
    Position_car.y = 0;
    Position_car.z = 0;
    MY1_Delay(50);
    Fuck_round = 1;
    FuckTi_status = 3;
    status = -1;
    PTZ_set_angle(0x01, 0.01);
  }
  else if (strcmp(cmd, "run3") == 0) {
    lazer_close = 1000;
    char z_cali[3] = {0xff,0xaa,0x52};
    // z归零
    HAL_UART_Transmit(&huart4, (uint8_t *)z_cali, sizeof(z_cali), HAL_MAX_DELAY);
    z_cali[2] = 0x67;
    // acc校准
    HAL_UART_Transmit(&huart4, (uint8_t *)z_cali, sizeof(z_cali), HAL_MAX_DELAY);
    Position_car.x = 0;
    Position_car.y = 0;
    Position_car.z = 0;
    MY1_Delay(50);

    Fuck_round = 1;
    FuckTi_status = 4;
    status = -1;
  }
  else if (strcmp(cmd, "run4") == 0) {
    lazer_close = 1000;
    char z_cali[3] = {0xff,0xaa,0x52};
    // z归零
    HAL_UART_Transmit(&huart4, (uint8_t *)z_cali, sizeof(z_cali), HAL_MAX_DELAY);
    z_cali[2] = 0x67;
    // acc校准
    HAL_UART_Transmit(&huart4, (uint8_t *)z_cali, sizeof(z_cali), HAL_MAX_DELAY);
    Position_car.x = 0;
    Position_car.y = 0;
    Position_car.z = 0;
    MY1_Delay(50);

    FuckTi_status = 3;
    status = -1;
    PTZ_set_angle(0x01, 0.01);
    Fuck_round = 2;
  }
  else if (strcmp(cmd, "soft") == 0) {
    PTZ_soft();
    FuckTi_status = 0;
  }
  else if (strcmp(cmd, "hard") == 0) {
    lazer_close = 500;
    FuckTi_status = 2;
  }
  else if (strcmp(cmd, "hard2") == 0) {
    lazer_close = 3000;
    FuckTi_status = 5;//5是自己找
    detected = 0;
    PTZ_update(-0.01, -1);
    HAL_Delay(700);

  }
}

void WriteSCREEN(char* msg) {
  const char end[3] = {0xff, 0xff, 0xff};
  HAL_UART_Transmit(&huart3, (uint8_t *)msg, strlen(msg), HAL_MAX_DELAY); // 发送屏幕数据
  HAL_UART_Transmit(&huart3, (uint8_t *)end, sizeof(end), HAL_MAX_DELAY); // 发送结束符
}

static float int_z=0;
void K230Handler() {
  char *token[6];
  int   argc = 0;

  /* 用空格分隔 */
  char *pch = strtok(k230_data_buffer, " ");
  while (pch && argc < 6) {
    token[argc++] = pch;
    pch = strtok(NULL, " ");
  }

  if (argc == 0)            /* 空行，继续读 */
    return;

  const char *cmd = token[0];       /* 第 0 个就是命令 */
  if (strcmp(cmd, "dif") == 0) {
    int dz = atoi(token[1]);
    if (FuckTi_status != 2 && FuckTi_status != 3)
      dz -= 160;
    int dx = atoi(token[2]);
    dx = 0;

    detected ++;

    if (!(FuckTi_status == 2 || FuckTi_status == 3)) return;

    if (turn2 == true) return;

    float a = PTZ_getangle(1);
    char msg[10];
    sprintf(msg,"%d \r\n",(int)(dz));
    HAL_UART_Transmit(&huart1, msg, strlen(msg), HAL_MAX_DELAY);
    if (a > 0) {
      dx = 15;
    }else {
      dx = -15;
    }

    int_z += dz;

    PTZ_move(dx/27000.f, dz/27000.f + int_z / 270000.f * 0.5f);

  }
  else if (strcmp(cmd, "cir") == 0) {
    int center_dif_x = atoi(token[1]);
    int radius_x = atoi(token[2]);
    int radius_y = atoi(token[3]);

    if (!(FuckTi_status == 4))return;

    float self_x = Position_car.x;
    float self_y = Position_car.y;

    if (self_x<5 && self_y > -5) {
      PTZ_move_angle(0x02, center_dif_x / 20000.f);
    }
    else if (self_y < -80 && self_x > 20) {
      PTZ_move_angle(0x02, (center_dif_x + radius_x*4.5) / 27000.f);
      MY1_Delay(2);
      PTZ_set_angle(0x01, -(self_x-43) * 0.0006f);
    }
    else if (self_x < 20 && self_y < -20) {
      PTZ_move_angle(0x02, center_dif_x / 16000.f);
    }
    else if (self_y > -20 && self_x < 80) {
      PTZ_move_angle(0x02, (center_dif_x - radius_x* 8) / 27000.f);
      MY1_Delay(2);
      PTZ_set_angle(0x01, -(self_x - 43) * 0.0006f);
    }
    else  if (self_x > -80 && self_x > 80) {
      PTZ_move_angle(0x02, (center_dif_x) / 20000.f);
    }

  }

}

void MY1_Delay(int ms) {
  /* 1. 使能 DWT 和 CYCCNT（只需一次） */
  static uint8_t dwt_ok = 0;
  if (!dwt_ok) {
    CoreDebug->DEMCR |= CoreDebug_DEMCR_TRCENA_Msk; /* 使能 DWT 模块 */
    DWT->CYCCNT = 0;                                /* 清计数器 */
    DWT->CTRL |= DWT_CTRL_CYCCNTENA_Msk;            /* 启动 CYCCNT */
    dwt_ok = 1;
  }

  /* 2. 计算目标 tick（480 MHz -> 480000 ticks/ms） */
  uint32_t ticks_per_ms = SystemCoreClock / 1000U;    /* = 480000 */
  uint32_t start = DWT->CYCCNT;
  uint32_t delay = (uint32_t)ms * ticks_per_ms;

  /* 3. 阻塞等待（可中断） */
  while ((DWT->CYCCNT - start) < delay) {
    /* 空循环，编译器不会优化掉 */
    __NOP();
  }
}

bool turning = true;
// bool turn2 = false;
const int fuck_speed = -330;
const int fuck_turn = 7;
const float bias = 0.1;
int done_round = 0;

int calc_speed(int dis) {
  if (dis < 10) {
    return dis*(fuck_speed- (-135))/10. + (-135);
  }
  if (dis > 75) {
    return (100 - dis)*(fuck_speed-(-40))/25. + (-40);
  }
  return fuck_speed;
}

int calc_rotation(float r_dis) {
  float idk = PI / 2.;
  if (r_dis < idk * 0.15f) {
    return r_dis * (fuck_turn - 7) / (idk * 0.15f) + 7;
  }
  if (r_dis > idk * 0.70) {
    return (idk * 0.95 - r_dis) * (fuck_turn - 5) / (idk * 0.25f) + 5;
  }
  return fuck_turn;
}

void run1() {
  motor_speed_x = 0;
  motor_speed_y = 0;
  motor_speed_z = 0;
  if (!(FuckTi_status == 1 || FuckTi_status == 3)) return;
  if (Fuck_round <= 0)return;
  if (status == 0) {//上
    turning = false;
    z_target = 0;
    z_target = -(atan2((-Position_car.y)-92 , (-Position_car.x)-0) + PI/2.) + 2.*0.;
    if (Position_car.y < -90 + done_round * 0.5) {
      status++;
      return;
    }
    motor_speed_x = fuck_speed;
  }
  else if (status == 1) {//1转
    turning = true;
    if (Position_car.z > PI/2. - bias - 0.2) {
      status++;
      return;
    }
    motor_speed_z = fuck_turn;
  }
  else if (status == 2) {//左
    turning = false;
    z_target = PI/2.;
    z_target -= atan((Position_car.y - (-92)) / (Position_car.x - (-93)));
    if (Position_car.x < -90) {
      status++;
      return;
    }
    motor_speed_x = fuck_speed;
  }
  else if (status == 3) {//2转
    turning = true;
    if ((Position_car.z > -PI && Position_car.z < 0) || Position_car.z > PI - bias) {
      status++;
      return;
    }
    motor_speed_z = fuck_turn;
  }
  else if (status == 4) {//下
    turning = false;
    z_target = -PI;
    z_target += atan( (Position_car.x - (-95 - done_round * 0.5)) / (Position_car.y - (0)));
    if (z_target < -PI) z_target += 2*PI;
    if (Position_car.y > 0 - 3 - done_round * 1) {
      status++;
      return;
    }
    motor_speed_x = fuck_speed;
  }
  else if (status == 5) {//3转
    turning = true;
    if (Position_car.z > -PI/2. - bias && Position_car.z < 0) {
      status++;
      return;
    }
    motor_speed_z = fuck_turn;
  }
  else if (status == 6) {
    turning = false;
    z_target = -PI/2.;
    z_target -= atan((Position_car.y - (1.+done_round*1.0)) / (Position_car.x - (-5)));
    if (Position_car.x > -6 - done_round * 1.2) {
      status++;
      return;
    }
    motor_speed_x = fuck_speed;
  }
  else if (status == 7) {
    turning = true;
    if (Position_car.z > -bias) {
      status = 0;
      Fuck_round--;
      done_round++;
      return;
    }
    motor_speed_z = fuck_turn;
  }
}

float turn_offset = 0.0;
float end_turn_offset = 0.0;
bool turn_end = false;

void new_run2() {
  motor_speed_x = 0;
  motor_speed_y = 0;
  motor_speed_z = 0;
  if (!(FuckTi_status == 1 || FuckTi_status == 3 || FuckTi_status == 4)) return;
  if (Fuck_round <= 0) {
    FuckTi_status = 2;
    return;
  }
  if (status == -1) {
    turning = false;
    turn2 = false;
    z_target = 0;

    // z_target += atan((Position_car.x) / (Position_car.y));

    if (Position_car.y > 11) {
      // status++;
      status = 0;
      Position_car.x = 0;
      Position_car.y = 0;
      int_z = 0;
      // turn_offset = -0.3;
      turn_end = false;
      return;
    }
    motor_speed_x = 200;
  }
  else if (status == 0) {//转
    turning = true;
    turn2 = true;
    if (Position_car. z > PI/2. - bias) {
      status++;
      // FuckTi_status = 2;
      return;
    }
    // motor_speed_z = calc_rotation(fabs(Position_car.z));
    motor_speed_z = 6;
  }
  else if (status == 1) {//下
    turning = false;
    turn2 = false;
    z_target = PI/2.;
    z_target += atan((Position_car.y) / (93 - (Position_car.x)));
    if (Position_car.x > 90) {
      PTZ_move_angle(0x02, -0.3);
      status++;
      turn_offset = -0.04;
      turn_end = false;
      end_turn_offset = 0.0;
      int_z = 0;
      lazer_close = 300;
      // FuckTi_status = 0;
      return;
    }
    motor_speed_x = -calc_speed(abs(Position_car.x - 0));
    // motor_speed_x = fuck_speed;
  }
  else if (status == 2) {//1转
    turning = true;
    turn2 = true;
    if (Position_car.z < 0 + bias) {
      status++;
      end_turn_offset = -3.76;
      int_z = -1;
      lazer_close = 300;
      return;
    }
    // motor_speed_z = -calc_rotation(fabs(PI/2. - Position_car.z));
    motor_speed_z = -6;
  }
  else if (status == 3) {//右
    turning = false;
    turn2 = false;
    z_target = 0;

    z_target += atan((Position_car.x - (93)) / (Position_car.y - (-97)));

    if (Position_car.y < -94) {
      status++;
      end_turn_offset = 0.0;
      turn_offset = 0.06;
      turn_end = false;
      int_z = 0;
      lazer_close = 300;
      return;
    }
    motor_speed_x = calc_speed(abs(Position_car.y) - 0);
  }
  else if (status == 4) {//2转
    turning = true;
    turn2 = true;
    if (Position_car.z > PI/2. - bias) {
      status++;
      int_z = 0;
      end_turn_offset = 3.46;
      lazer_close = 300;
      return;
    }
    // motor_speed_z = fuck_turn;
    motor_speed_z = 6;
  }
  else if (status == 5) {//上
    turning = false;
    turn2 = false;
    z_target = PI/2.;
    turn_end = false;
    int_z = 0;

    z_target -= atan( (Position_car.y - (-95 - done_round * 1.4)) / (Position_car.x));

    if (Position_car.x < 3) {
      status++;
      turn_offset = -0.02;
      return;
    }
    motor_speed_x = calc_speed(100 - abs(Position_car.x)) - 26;
  }
  else if (status == 6) {//3转
    turning = true;
    turn2 = true;
    if (Position_car.z < 0 + bias) {
      status++;
      end_turn_offset = 2.04;
      return;
    }
    motor_speed_z = -7;
    // motor_speed_z = -calc_rotation(PI/2. - fabs(Position_car.z)) ;
  }
  else if (status == 7) {//左
    turning = false;
    turn2 = false;
    turn_end = false;
    z_target = 0;

    z_target += atan((Position_car.x) / (Position_car.y));

    if (Position_car.y > -2 + done_round * 1.2) {
      // status++;
      status = 0;
      done_round ++;
      Fuck_round --;
      int_z = 0;
      return;
    }
    motor_speed_x = -calc_speed(94 - abs(Position_car.y)) + 0;
  }

}

void run2() {
  motor_speed_x = 0;
  motor_speed_y = 0;
  motor_speed_z = 0;
  if (!(FuckTi_status == 1 || FuckTi_status == 3)) return;
  if (Fuck_round <= 0)return;
  if (status == 0) {//上
    turning = false;
    turn2 = false;
    z_target = 0;
    z_target = -(atan2((-Position_car.y)-92 , (-Position_car.x)-0) + PI/2.) + 2.*0.;
    if (Position_car.y < -90) {
      PTZ_move_angle(0x02, -0.3);
      status++;
      return;
    }
    motor_speed_x = calc_speed(abs(Position_car.y - 0));
    // motor_speed_x = fuck_speed;
  }
  else if (status == 1) {//1转
    turning = true;
    turn2 = true;
    if (Position_car.z < -PI/2. + bias) {
      status++;
      // FuckTi_status = 2;
      return;
    }
    motor_speed_z = -calc_rotation(fabs(Position_car.z));
  }
  else if (status == 2) {//左
    turning = false;
    turn2 = false;
    z_target = -PI/2.;
    z_target -= atan((Position_car.y - (-92)) / (Position_car.x - (-93)));
    if (Position_car.x < -93) {
      status++;
      return;
    }
    motor_speed_x = -calc_speed(abs(Position_car.x) - 0);
  }
  else if (status == 3) {//2转
    turning = true;
    turn2 = true;
    if (Position_car.z > 0 - bias) {
      status++;
      return;
    }
    // motor_speed_z = fuck_turn;
    motor_speed_z = calc_rotation(PI / 2. - fabs(Position_car.z));
  }
  else if (status == 4) {//下
    turning = false;
    turn2 = false;
    z_target = 0;
    z_target += atan( (Position_car.x - (-95 - done_round * 1.4)) / (Position_car.y - (0)));
    if (Position_car.y > 0) {
      status++;
      return;
    }
    motor_speed_x = -calc_speed(95 - abs(Position_car.y));
  }
  else if (status == 5) {//3转
    turning = true;
    turn2 = true;
    if (Position_car.z < -PI/2. + bias) {
      status++;
      return;
    }
    // motor_speed_z = -fuck_turn;
    motor_speed_z = -calc_rotation(fabs(Position_car.z));
  }
  else if (status == 6) {
    turning = false;
    turn2 = false;
    z_target = -PI/2.;
    z_target -= atan((Position_car.y - (1.+done_round*1.7)) / (Position_car.x - (-5)));
    if (Position_car.x > -6 - done_round * 1.2) {
      status++;
      return;
    }
    motor_speed_x = calc_speed(95 - abs(Position_car.x));
  }
  else if (status == 7) {
    turning = true;
    turn2 = true;
    if (Position_car.z > -bias) {
      status = 0;
      Fuck_round--;
      done_round++;
      turn2 = false;
      return;
    }
    // motor_speed_z = fuck_turn;
    motor_speed_z = calc_rotation(PI / 2. - fabs(Position_car.z));
  }
}

void run3() {
  motor_speed_x = 0;
  motor_speed_y = 0;
  motor_speed_z = 0;
  if (!(FuckTi_status == 4)) return;
  if (Fuck_round <= 0)return;
  if (status == 0) {//上
    turning = false;
    turn2 = false;
    z_target = 0;
    z_target = -(atan2((-Position_car.y)-92 , (-Position_car.x)-0) + PI/2.) + 2.*0.;
    if (Position_car.y < -90) {
      status++;
      return;
    }
    motor_speed_x = calc_speed(abs(Position_car.y - 0));
    // motor_speed_x = fuck_speed;
  }
  else if (status == 1) {//1转
    turning = true;
    turn2 = true;
    if (Position_car.z < -PI/2. + bias) {
      status++;
      return;
    }
    motor_speed_z = -calc_rotation(fabs(Position_car.z));
  }
  else if (status == 2) {//左
    turning = false;
    turn2 = false;
    z_target = -PI/2.;
    z_target -= atan((Position_car.y - (-92)) / (Position_car.x - (-93)));
    if (Position_car.x < -93) {
      status++;
      // status = 0;
      // FuckTi_status = 0;
      return;
    }
    motor_speed_x = -calc_speed(abs(Position_car.x) - 0);
  }
  else if (status == 3) {//2转
    turning = true;
    turn2 = true;
    if (Position_car.z > 0 - bias) {
      status++;
      return;
    }
    // motor_speed_z = fuck_turn;
    motor_speed_z = calc_rotation(PI / 2. - fabs(Position_car.z));
  }
  else if (status == 4) {//下
    turning = false;
    turn2 = false;
    z_target = 0;
    z_target += atan( (Position_car.x - (-95 - done_round * 1.4)) / (Position_car.y - (0)));
    if (Position_car.y > 0) {
      status++;
      return;
    }
    motor_speed_x = -calc_speed(95 - abs(Position_car.y));
  }
  else if (status == 5) {//3转
    turning = true;
    turn2 = true;
    if (Position_car.z < -PI/2. + bias) {
      status++;
      return;
    }
    // motor_speed_z = -fuck_turn;
    motor_speed_z = -calc_rotation(fabs(Position_car.z));
  }
  else if (status == 6) {
    turning = false;
    turn2 = false;
    z_target = -PI/2.;
    z_target -= atan((Position_car.y - (1.+done_round*1.7)) / (Position_car.x - (-5)));
    if (Position_car.x > -6 - done_round * 1.2) {
      status++;
      return;
    }
    motor_speed_x = calc_speed(95 - abs(Position_car.x));
  }
  else if (status == 7) {
    turning = true;
    turn2 = true;
    if (Position_car.z > -bias) {
      status = 0;
      Fuck_round--;
      done_round++;
      turn2 = false;
      return;
    }
    // motor_speed_z = fuck_turn;
    motor_speed_z = calc_rotation(PI / 2. - fabs(Position_car.z));
  }
}

void Fuck_NUEDC() {
  if (FuckTi_status == 1) {
    run1();
  }
  else if (FuckTi_status == 3) {
    // run2();
    new_run2();
  }
  else if (FuckTi_status == 4) {
    // run3();
    new_run2();
  }
}

void HAL_TIM_PeriodElapsedCallback(TIM_HandleTypeDef *htim)
{
  if (htim->Instance==TIM6) {

    // if (data_flag) SpeedHandler(),data_flag = false;
    // if (data_flag) PositionHandler(),data_flag = false;
    // CheckPosition();

    update_speed(&Speed_Data_A, 1, METERS_PER_PULSE_AB);
    update_speed(&Speed_Data_B, 2, METERS_PER_PULSE_AB);

    Speed_Y.speed *= -1.0f; // 反向

    Speed_Int(0.01f);

    Speed_PID();
    Fuck_NUEDC();

    if (turning == false) {
      if (Position_car.z - z_target > PI) Position_car.z -= 2.0f * PI;
      if (Position_car.z - z_target < -PI) Position_car.z += 2.0f * PI;

      if (fabs(Position_car.z - z_target) > 0.02) {
        PID_output(z_target, Position_car.z, &Z_PID, 2000);
        motor_speed_z = Z_PID.output;
      }
      else {
        motor_speed_z = 0;
      }

      if (motor_speed_z > 30)motor_speed_z = 30;
      if (motor_speed_z < -30)motor_speed_z = -30;
    }

    float gyro_z = gyro_data.z[0];
    if (gyro_z > 600) turn_end = true;
    if (gyro_z < 200 && turn_end == false) {
      if (status == 4) {
        gyro_z *= 0.9;
      }else {
        gyro_z *= 1.24;
      }
    }
    float dangle_z = gyro_z * 0.01 / 180. * PI * 0.29;

    char msg[20];
    sprintf(msg,"%d \r\n", (int)(m0_dead));
    // HAL_UART_Transmit(&huart1, (uint8_t *)msg, strlen(msg), HAL_MAX_DELAY);

    // dangle_z = Speed_Data_B.speed * 100;
    if (turn2 == true) {
      // PTZ_move(0, dangle_z);
      if (status == 0) {
        dangle_z *= 0.99;
      }
      if (status == 2 || status == 6) {
        dangle_z *= 0.99;
      }
      if (status == 6 ) {
        dangle_z *=0.84;
      }
      if (status == 4) {
        dangle_z *= 0.97;
      }
      if (status == 2) {
        dangle_z *= 0.7;
      }
      // PTZ_move_angle(0x02, dangle_z + turn_offset - end_turn_offset);
      PTZ_move_angle(0x02, dangle_z);
      turn_offset /= 1.3;
      end_turn_offset /= 1.3;
    }
    // else {
    //   // PTZ_move_angle(0x02, dangle_z * 0.6);
    //   PTZ_move(dangle_y * 0.9, dangle_z * 0.6);
    // }

    Move_Transform(motor_speed_x, motor_speed_x, motor_speed_z);
  }
  else if (htim->Instance == TIM7) {
    if (FuckTi_status == 3)return;
    PTZ_alive = PTZ_heartbeat();
    char msg[20];
    if (PTZ_alive == 0)
      sprintf(msg, "aim.t1.txt=\"dead\"");
    else
      sprintf(msg, "aim.t1.txt=\"alive\"");
    WriteSCREEN(msg);

    if(HAL_GPIO_ReadPin(GPIOD, GPIO_PIN_7) == GPIO_PIN_SET) {
      m0_dead = 0;
    }else {
      m0_dead = 1;
    }
  }
  else if(htim->Instance == TIM13) {
    lazer_close --;
    if(lazer_close <= 0) {
      HAL_GPIO_WritePin(GPIOA , GPIO_PIN_5, GPIO_PIN_SET);
    }
    else {
      HAL_GPIO_WritePin(GPIOA , GPIO_PIN_5, GPIO_PIN_RESET);
    }
  }
}

void HAL_UARTEx_RxEventCallback(UART_HandleTypeDef *huart, uint16_t Size) {
  if (huart->Instance == USART1) {
    strcpy(speed_data_buffer, speed_rx_buffer);
    data_flag = true;
    memset(speed_rx_buffer, 0, sizeof(speed_rx_buffer));
  }
  if (huart->Instance == USART2) {

  }
  if (huart->Instance == USART3) {
    memcpy(screen_data_buffer, screen_rx_buffer, Size);
    ScreenHandler();
    memset(screen_rx_buffer, 0, sizeof(screen_rx_buffer));
    HAL_UARTEx_ReceiveToIdle_DMA(&huart3, screen_rx_buffer, 512);
  }
  if (huart->Instance == UART4) {
    memcpy(imu_data_buffer, imu_rx_buffer, Size);
    ImuHandler(Size);
    memset(imu_rx_buffer, 0, sizeof(imu_rx_buffer));
  }
  if (huart->Instance == UART7) {
    HAL_UART_DMAStop(&huart7);          // 1. 关 DMA
    __HAL_UART_DISABLE_IT(&huart7, UART_IT_IDLE);  // 2. 关 IDLE 中断
    huart7.RxState = HAL_UART_STATE_READY;  // 3. 清 HAL 内部标志
    /* 清 RX FIFO：连续读 DR，直到 RXNE=0 */
    while (__HAL_UART_GET_FLAG(&huart7, UART_FLAG_RXNE))
    {
      volatile uint8_t dummy = huart7.Instance->RDR;  // 读 DR 会清 RXNE
      volatile uint8_t dummy2 = huart7.Instance->TDR;  // 读 DR 会清 RXNE
      (void)dummy;  // 防止编译器优化
      (void)dummy2;  // 防止编译器优化
    }

    memcpy(k230_data_buffer, k230_rx_buffer, Size);
    K230Handler();
    memset(k230_rx_buffer, 0, sizeof(k230_rx_buffer));
    uint8_t tmp;
    // HAL_UART_Receive(&huart7, &tmp, 1, HAL_MAX_DELAY);
    HAL_UARTEx_ReceiveToIdle_DMA(&huart7, k230_rx_buffer, 2048);
  }
}

float GetDistance(float* point_a, float* point_b) {
  return sqrtf(powf(point_a[0] - point_b[0], 2) + powf(point_a[1] - point_b[1], 2));
}

void Projection_Draw(float x, float y) {
  float angle_x = tanf(y - projection_y);
  float angle_y = tanf(x - projection_x);
  PTZ_update(angle_x, angle_y);
}
/* USER CODE END 4 */

void Error_Handler(void)
{
  __disable_irq();
  while (1)
  {
  }
}
